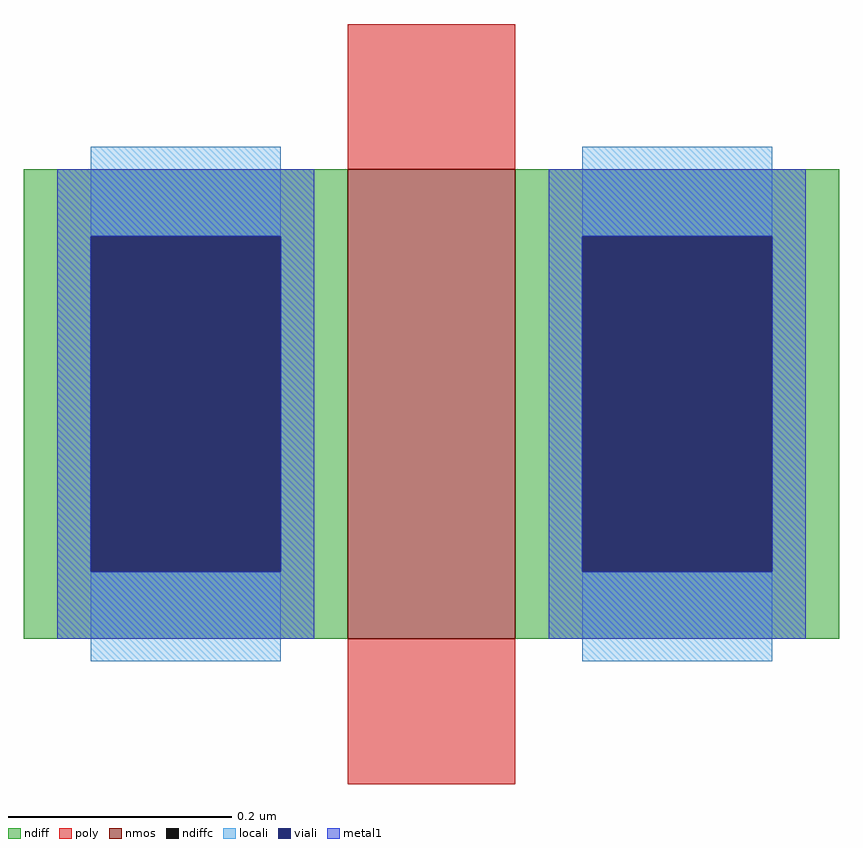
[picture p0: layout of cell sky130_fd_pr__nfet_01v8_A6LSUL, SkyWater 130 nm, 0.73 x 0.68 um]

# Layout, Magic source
magic
tech sky130A
<< nmos >>
rect -44 -55 -29 -13
<< ndiff >>
rect -73 -19 -44 -13
rect -73 -49 -67 -19
rect -50 -49 -44 -19
rect -73 -55 -44 -49
rect -29 -19 0 -13
rect -29 -49 -23 -19
rect -6 -49 0 -19
rect -29 -55 0 -49
<< ndiffc >>
rect -67 -49 -50 -19
rect -23 -49 -6 -19
<< poly >>
rect -44 -13 -29 0
rect -44 -68 -29 -55
<< locali >>
rect -67 -19 -50 -11
rect -67 -57 -50 -49
rect -23 -19 -6 -11
rect -23 -57 -6 -49
<< viali >>
rect -67 -49 -50 -19
rect -23 -49 -6 -19
<< metal1 >>
rect -70 -19 -47 -13
rect -70 -49 -67 -19
rect -50 -49 -47 -19
rect -70 -55 -47 -49
rect -26 -19 -3 -13
rect -26 -49 -23 -19
rect -6 -49 -3 -19
rect -26 -55 -3 -49
<< properties >>
string gencell sky130_fd_pr__nfet_01v8
string library sky130
string parameters w 0.420 l 0.150 m 1 nf 1 diffcov 100 polycov 100 guard 0 glc 0 grc 0 gtc 0 gbc 0 tbcov 100 rlcov 100 topc 0 botc 0 poverlap 0 doverlap 0 lmin 0.15 wmin 0.42 compatible {sky130_fd_pr__nfet_01v8 sky130_fd_pr__nfet_01v8_lvt  sky130_fd_bs_flash__special_sonosfet_star  sky130_fd_pr__nfet_g5v0d10v5 sky130_fd_pr__nfet_05v0_nvt  sky130_fd_pr__nfet_03v3_nvt} full_metal 0 viasrc 100 viadrn 100 viagate 100 viagb 0 viagr 0 viagl 0 viagt 0
<< end >>
